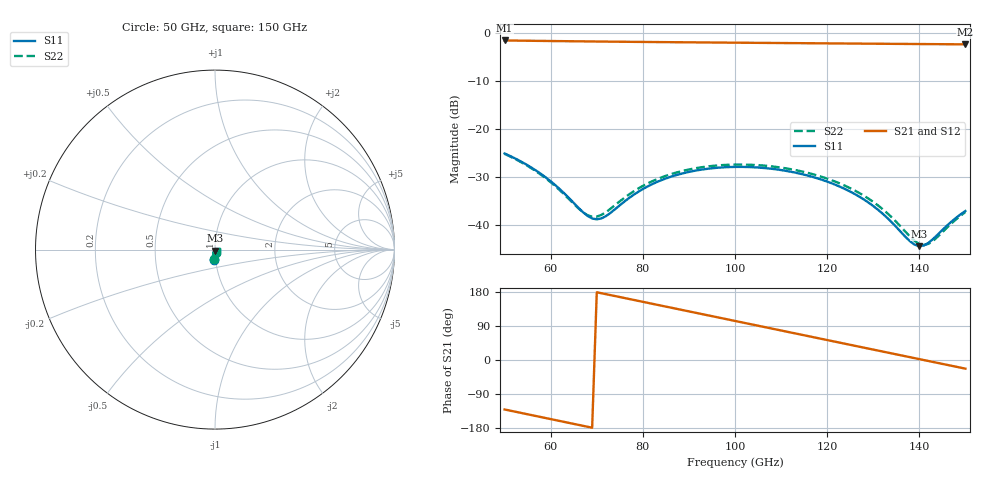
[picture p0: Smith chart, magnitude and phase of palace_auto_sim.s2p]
#  GHZ S DB R 50
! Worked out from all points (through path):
!   101 points, 50 GHz to 150 GHz, reference 50 ohm
!   highest |S21| = -1.50 dB at 50 GHz (marker M1); lowest = -2.3 dB at 150 GHz (marker M2)
!   group delay of S21, straight-line fit = 7.01 ps
!   lowest |S11| = -44.4 dB at 140 GHz (marker M3), VSWR 1.01, Z = 50.2 - j0.58 ohm
!   |S11| at or under -10 dB: start of sweep to end of sweep
!   |S22| runs from -44.2 to -25.2 dB; largest |S21 - S12| = 1.3e-14
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50  -25.08 -96.9  -1.50 -130.5  -1.50 -130.5  -25.17 -96.4
55  -27.56 -105.2  -1.56 -143.3  -1.56 -143.3  -27.69 -104.3
59  -30.14 -109.2  -1.61 -153.4  -1.61 -153.4  -30.33 -107.7
67  -37.32 -92.9  -1.69 -173.7  -1.69 -173.7  -37.35 -87.1
69  -38.65 -76.7  -1.71 -178.7  -1.71 -178.7  -38.29 -70.1
71  -38.64 -57.9  -1.73 176.2  -1.73 176.2  -37.91 -52.6
78  -33.71 -30.0  -1.79 158.6  -1.79 158.6  -32.99 -29.6
84  -30.66 -33.3  -1.84 143.4  -1.84 143.4  -30.09 -33.6
92  -28.57 -46.3  -1.91 123.3  -1.91 123.3  -28.07 -46.9
100  -27.89 -62.2  -1.97 103.1  -1.97 103.1  -27.41 -63.0
108  -28.29 -78.9  -2.02 82.9  -2.02 82.9  -27.78 -79.8
112  -28.88 -87.2  -2.05 72.8  -2.05 72.8  -28.35 -88.2
117  -30.02 -97.3  -2.09 60.2  -2.09 60.2  -29.44 -98.3
126  -33.56 -112.5  -2.15 37.6  -2.15 37.6  -32.82 -114.2
130  -36.05 -116.1  -2.18 27.5  -2.18 27.5  -35.19 -118.5
134  -39.43 -113.8  -2.21 17.4  -2.21 17.4  -38.39 -117.9
138  -43.42 -94.5  -2.24 7.4  -2.24 7.4  -42.45 -103.3
140  -44.43 -74.5  -2.25 2.3  -2.25 2.3  -43.98 -85.6
141  -44.28 -63.6  -2.26 -0.2  -2.26 -0.2  -44.19 -74.6
143  -42.92 -46.3  -2.27 -5.2  -2.27 -5.2  -43.31 -54.6
147  -39.28 -32.1  -2.30 -15.3  -2.30 -15.3  -39.66 -35.8
150  -37.10 -31.0  -2.31 -22.8  -2.31 -22.8  -37.32 -33.4
